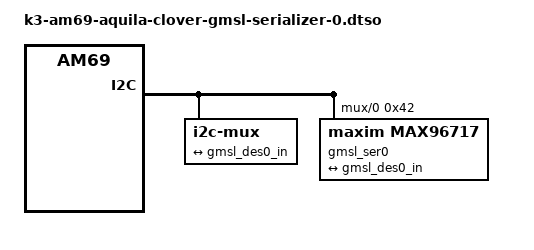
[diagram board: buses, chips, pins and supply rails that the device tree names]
// SPDX-License-Identifier: GPL-2.0-or-later OR MIT
/*
 * Aquila AM69 Clover MAX96724 connected to MAX96717 - GMSL Link 0 (SIOA)
 *
 */

/dts-v1/;
/plugin/;

#include "k3-am69-aquila-clover-csi2-gmsl-deserializer.dtso"

/ {
	compatible = "toradex,aquila-am69";
};

&max96724 {
	ports {
		#address-cells = <1>;
		#size-cells = <0>;

		port@0 {
			reg = <0>;

			gmsl_des0_in: endpoint {
				remote-endpoint = <&gmsl_ser0_out>;
			};
		};
	};

	i2c-mux {
		#address-cells = <1>;
		#size-cells = <0>;

		i2c@0 {
			reg  = <0>;
			#address-cells = <1>;
			#size-cells = <0>;

			gmsl_ser0: gmsl-serializer@42 {
				compatible = "maxim,max96717";
				reg = <0x42>;
				#gpio-cells = <2>;
				gpio-controller;
				gpio-ranges = <&gmsl_ser0 0 0 11>;

				ports {
					#address-cells = <1>;
					#size-cells = <0>;

					port@1 {
						reg = <1>;

						gmsl_ser0_out: endpoint {
							remote-endpoint = <&gmsl_des0_in>;
						};
					};
				};
			};
		};
	};
};
